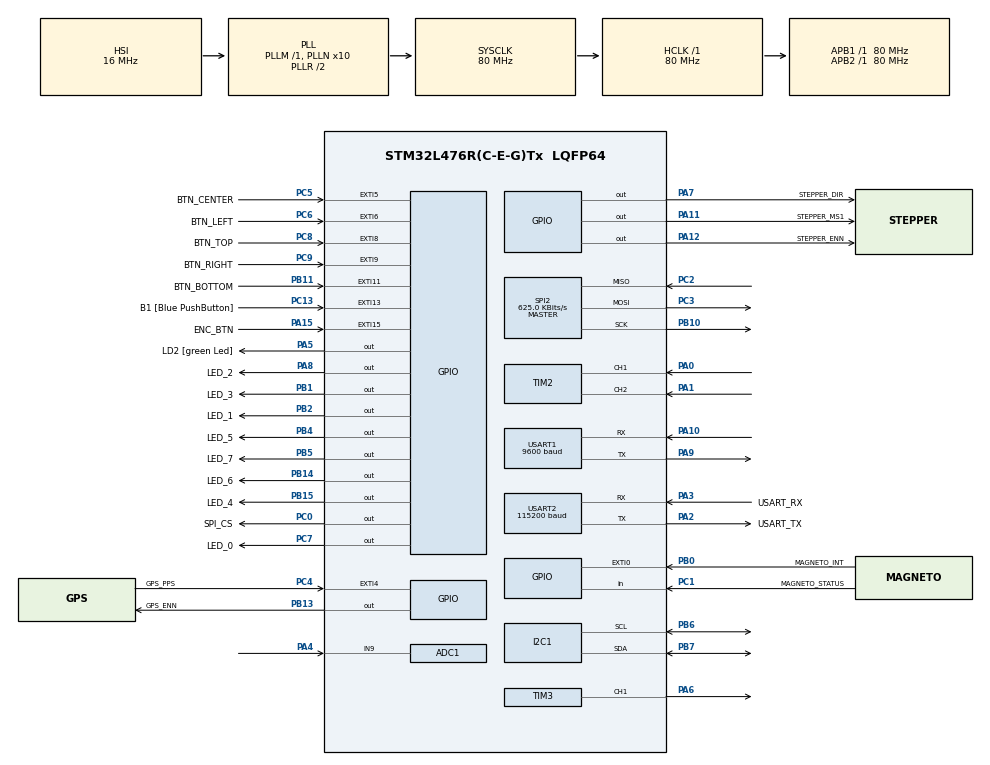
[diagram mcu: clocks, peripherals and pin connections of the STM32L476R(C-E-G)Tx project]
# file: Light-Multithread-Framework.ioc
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ADC1.Channel-2\#ChannelRegularConversion=ADC_CHANNEL_9
ADC1.ContinuousConvMode=DISABLE
ADC1.ExternalTrigConv=ADC_EXTERNALTRIG_T4_TRGO
ADC1.NbrOfConversionFlag=1
ADC1.OffsetNumber-2\#ChannelRegularConversion=ADC_OFFSET_NONE
ADC1.Rank-2\#ChannelRegularConversion=1
ADC1.SamplingTime-2\#ChannelRegularConversion=ADC_SAMPLETIME_2CYCLES_5
ADC1.master=1
I2C1.Timing=0x10909CEC
Mcu.Family=STM32L4
Mcu.Name=STM32L476R(C-E-G)Tx
Mcu.Package=LQFP64
NVIC.ADC1_2_IRQn=true\:0\:0\:false\:false\:true\:true\:true\:true
NVIC.EXTI15_10_IRQn=true\:0\:0\:false\:false\:true\:true\:true\:true
NVIC.PriorityGroup=NVIC_PRIORITYGROUP_4
NVIC.TIM4_IRQn=true\:0\:0\:false\:false\:true\:true\:true\:true
NVIC.TIM6_DAC_IRQn=true\:15\:0\:false\:false\:true\:false\:true\:true
NVIC.TimeBase=TIM6_DAC_IRQn
NVIC.TimeBaseIP=TIM6
PA0.Signal=S_TIM2_CH1
PA1.Signal=S_TIM2_CH2
PA10.Mode=Asynchronous
PA10.Signal=USART1_RX
PA11.GPIO_Label=STEPPER_MS1
PA11.Signal=GPIO_Output
PA12.GPIO_Label=STEPPER_ENN
PA12.PinState=GPIO_PIN_SET
PA12.Signal=GPIO_Output
PA13\ (JTMS-SWDIO).GPIO_Label=TMS
PA13\ (JTMS-SWDIO).Mode=Trace_Asynchronous_SW
PA13\ (JTMS-SWDIO).Signal=SYS_JTMS-SWDIO
PA14\ (JTCK-SWCLK).GPIO_Label=TCK
PA14\ (JTCK-SWCLK).Mode=Trace_Asynchronous_SW
PA14\ (JTCK-SWCLK).Signal=SYS_JTCK-SWCLK
PA15\ (JTDI).GPIO_Label=ENC_BTN
PA15\ (JTDI).Signal=GPXTI15
PA2.GPIO_Label=USART_TX
PA2.GPIO_Mode=GPIO_MODE_AF_PP
PA2.GPIO_PuPd=GPIO_NOPULL
PA2.GPIO_Speed=GPIO_SPEED_FREQ_VERY_HIGH
PA2.Mode=Asynchronous
PA2.Signal=USART2_TX
PA3.GPIO_Label=USART_RX
PA3.GPIO_Mode=GPIO_MODE_AF_PP
PA3.GPIO_PuPd=GPIO_NOPULL
PA3.GPIO_Speed=GPIO_SPEED_FREQ_VERY_HIGH
PA3.Mode=Asynchronous
PA3.Signal=USART2_RX
PA4.Signal=ADCx_IN9
PA5.GPIO_Label=LD2 [green Led]
PA5.GPIO_ModeDefaultOutputPP=GPIO_MODE_OUTPUT_PP
PA5.GPIO_PuPd=GPIO_NOPULL
PA5.GPIO_Speed=GPIO_SPEED_FREQ_LOW
PA5.Signal=GPIO_Output
PA6.Signal=S_TIM3_CH1
PA7.GPIO_Label=STEPPER_DIR
PA7.Signal=GPIO_Output
PA8.GPIO_Label=LED_2
PA8.Signal=GPIO_Output
PA9.Mode=Asynchronous
PA9.Signal=USART1_TX
PB0.GPIO_Label=MAGNETO_INT
PB0.Signal=GPXTI0
PB1.GPIO_Label=LED_3
PB1.Signal=GPIO_Output
PB10.Mode=Full_Duplex_Master
PB10.Signal=SPI2_SCK
PB11.GPIO_Label=BTN_BOTTOM
PB11.Signal=GPXTI11
PB13.GPIO_Label=GPS_ENN
PB13.Signal=GPIO_Output
PB14.GPIO_Label=LED_6
PB14.Signal=GPIO_Output
PB15.GPIO_Label=LED_4
PB15.Signal=GPIO_Output
PB2.GPIO_Label=LED_1
PB2.Signal=GPIO_Output
PB3\ (JTDO-TRACESWO).Mode=Trace_Asynchronous_SW
PB3\ (JTDO-TRACESWO).Signal=SYS_JTDO-SWO
PB4\ (NJTRST).GPIO_Label=LED_5
PB4\ (NJTRST).Signal=GPIO_Output
PB5.GPIO_Label=LED_7
PB5.Signal=GPIO_Output
PB6.Mode=I2C
PB6.Signal=I2C1_SCL
PB7.Mode=I2C
PB7.Signal=I2C1_SDA
PC0.GPIO_Label=SPI_CS
PC0.PinState=GPIO_PIN_SET
PC0.Signal=GPIO_Output
PC1.GPIO_Label=MAGNETO_STATUS
PC1.Signal=GPIO_Input
PC13.GPIO_Label=B1 [Blue PushButton]
PC13.GPIO_ModeDefaultEXTI=GPIO_MODE_IT_FALLING
PC13.GPIO_PuPd=GPIO_NOPULL
PC13.Signal=GPXTI13
PC14-OSC32_IN\ (PC14).Mode=LSE-External-Oscillator
PC14-OSC32_IN\ (PC14).Signal=RCC_OSC32_IN
PC15-OSC32_OUT\ (PC15).Mode=LSE-External-Oscillator
PC15-OSC32_OUT\ (PC15).Signal=RCC_OSC32_OUT
PC2.Mode=Full_Duplex_Master
PC2.Signal=SPI2_MISO
PC3.Mode=Full_Duplex_Master
PC3.Signal=SPI2_MOSI
PC4.GPIO_Label=GPS_PPS
PC4.Signal=GPXTI4
PC5.GPIO_Label=BTN_CENTER
PC5.Signal=GPXTI5
PC6.GPIO_Label=BTN_LEFT
PC6.Signal=GPXTI6
PC7.GPIO_Label=LED_0
PC7.Signal=GPIO_Output
PC8.GPIO_Label=BTN_TOP
PC8.Signal=GPXTI8
PC9.GPIO_Label=BTN_RIGHT
PC9.Signal=GPXTI9
PH0-OSC_IN\ (PH0).Mode=HSE-External-Oscillator
PH0-OSC_IN\ (PH0).Signal=RCC_OSC_IN
PH1-OSC_OUT\ (PH1).Mode=HSE-External-Oscillator
PH1-OSC_OUT\ (PH1).Signal=RCC_OSC_OUT
ProjectManager.HeapSize=0x200
ProjectManager.StackSize=0x400
ProjectManager.TargetToolchain=STM32CubeIDE
RCC.ADCFreq_Value=64000000
RCC.AHBFreq_Value=80000000
RCC.APB1Freq_Value=80000000
RCC.APB1TimFreq_Value=80000000
RCC.APB2Freq_Value=80000000
RCC.APB2TimFreq_Value=80000000
RCC.CortexFreq_Value=80000000
RCC.HCLKFreq_Value=80000000
RCC.HSE_VALUE=8000000
RCC.HSI_VALUE=16000000
RCC.MSI_VALUE=4000000
RCC.PLLN=10
RCC.PLLSourceVirtual=RCC_PLLSOURCE_HSI
RCC.PREFETCH_ENABLE=1
RCC.SYSCLKFreq_VALUE=80000000
RCC.SYSCLKSource=RCC_SYSCLKSOURCE_PLLCLK
RCC.USBFreq_Value=64000000
RCC.VCOOutputFreq_Value=160000000
SH.ADCx_IN9.0=ADC1_IN9,IN9-Single-Ended
SH.S_TIM2_CH1.0=TIM2_CH1,Encoder_Interface
SH.S_TIM2_CH2.0=TIM2_CH2,Encoder_Interface
SH.S_TIM3_CH1.0=TIM3_CH1,PWM Generation1 CH1
SPI2.BaudRatePrescaler=SPI_BAUDRATEPRESCALER_128
SPI2.CalculateBaudRate=625.0 KBits/s
SPI2.DataSize=SPI_DATASIZE_8BIT
SPI2.Direction=SPI_DIRECTION_2LINES
SPI2.Mode=SPI_MODE_MASTER
SPI2.NSSPMode=SPI_NSS_PULSE_DISABLE
SPI2.VirtualType=VM_MASTER
TIM3.Channel-PWM\ Generation1\ CH1=TIM_CHANNEL_1
TIM4.Period=9999
TIM4.Prescaler=79
TIM4.TIM_MasterOutputTrigger=TIM_TRGO_UPDATE
USART1.BaudRate=9600
USART1.VirtualMode-Asynchronous=VM_ASYNC
USART2.BaudRate=115200
USART2.VirtualMode-Asynchronous=VM_ASYNC
VP_SYS_VS_tim6.Mode=TIM6
VP_TIM3_VS_ClockSourceINT.Mode=Internal
VP_TIM4_VS_ClockSourceINT.Mode=Internal
board=NUCLEO-L476RG

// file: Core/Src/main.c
/* USER CODE BEGIN Header */
/**
  ******************************************************************************
  * @file           : main.c
  * @brief          : Main program body
  ******************************************************************************
  * @attention
  *
  * Copyright (c) 2025 STMicroelectronics.
  * All rights reserved.
  *
  * This software is licensed under terms that can be found in the LICENSE file
  * in the root directory of this software component.
  * If no LICENSE file comes with this software, it is provided AS-IS.
  *
  ******************************************************************************
  */
/* USER CODE END Header */
#include "main.h"
#include "adc.h"
#include "i2c.h"
#include "spi.h"
#include "tim.h"
#include "usart.h"
#include "gpio.h"

/* USER CODE BEGIN Includes */
#include "task.h"
#include <stdio.h>
#include "led.h"
#include "stm32l4xx_hal.h"
#include "button.h"
#include "ssd1315.h"
#include "fonts.h"

/* USER CODE END Includes */

void SystemClock_Config(void);

/* USER CODE BEGIN 0 */
int __io_putchar(int ch)
{
	HAL_UART_Transmit(&huart2, (uint8_t *)&ch, 1, HAL_MAX_DELAY);
	return ch;

}

int __io_getchar(void)
{
	uint8_t ch = 0;
	__HAL_UART_CLEAR_OREFLAG(&huart2);
	HAL_UART_Receive(&huart2, (uint8_t *)&ch, 1, HAL_MAX_DELAY);
	HAL_UART_Transmit(&huart2, (uint8_t *)&ch, 1, HAL_MAX_DELAY);
	return ch;

}
/* USER CODE END 0 */

int main(void)
{

  /* MCU Configuration--------------------------------------------------------*/

  /* Reset of all peripherals, Initializes the Flash interface and the Systick. */
  HAL_Init();

  /* Configure the system clock */
  SystemClock_Config();

  /* Initialize all configured peripherals */
  MX_GPIO_Init();
  MX_USART2_UART_Init();
  MX_I2C1_Init();
  MX_SPI2_Init();
  MX_TIM2_Init();
  MX_TIM3_Init();
  MX_USART1_UART_Init();
  MX_ADC1_Init();
  MX_TIM4_Init();
  /* USER CODE BEGIN 2 */
  HAL_TIM_Base_Start_IT(&htim4);

  /* USER CODE END 2 */

  /* Infinite loop */
  while (1)
  {

  }
}

void SystemClock_Config(void)
{
  RCC_OscInitTypeDef RCC_OscInitStruct = {0};
  RCC_ClkInitTypeDef RCC_ClkInitStruct = {0};

  /** Configure the main internal regulator output voltage
  */
  if (HAL_PWREx_ControlVoltageScaling(PWR_REGULATOR_VOLTAGE_SCALE1) != HAL_OK)
  {
    Error_Handler();
  }

  /** Initializes the RCC Oscillators according to the specified parameters
  * in the RCC_OscInitTypeDef structure.
  */
  RCC_OscInitStruct.OscillatorType = RCC_OSCILLATORTYPE_HSI;
  RCC_OscInitStruct.HSIState = RCC_HSI_ON;
  RCC_OscInitStruct.HSICalibrationValue = RCC_HSICALIBRATION_DEFAULT;
  RCC_OscInitStruct.PLL.PLLState = RCC_PLL_ON;
  RCC_OscInitStruct.PLL.PLLSource = RCC_PLLSOURCE_HSI;
  RCC_OscInitStruct.PLL.PLLM = 1;
  RCC_OscInitStruct.PLL.PLLN = 10;
  RCC_OscInitStruct.PLL.PLLP = RCC_PLLP_DIV7;
  RCC_OscInitStruct.PLL.PLLQ = RCC_PLLQ_DIV2;
  RCC_OscInitStruct.PLL.PLLR = RCC_PLLR_DIV2;
  if (HAL_RCC_OscConfig(&RCC_OscInitStruct) != HAL_OK)
  {
    Error_Handler();
  }

  /** Initializes the CPU, AHB and APB buses clocks
  */
  RCC_ClkInitStruct.ClockType = RCC_CLOCKTYPE_HCLK|RCC_CLOCKTYPE_SYSCLK
                              |RCC_CLOCKTYPE_PCLK1|RCC_CLOCKTYPE_PCLK2;
  RCC_ClkInitStruct.SYSCLKSource = RCC_SYSCLKSOURCE_PLLCLK;
  RCC_ClkInitStruct.AHBCLKDivider = RCC_SYSCLK_DIV1;
  RCC_ClkInitStruct.APB1CLKDivider = RCC_HCLK_DIV1;
  RCC_ClkInitStruct.APB2CLKDivider = RCC_HCLK_DIV1;

  if (HAL_RCC_ClockConfig(&RCC_ClkInitStruct, FLASH_LATENCY_4) != HAL_OK)
  {
    Error_Handler();
  }
}

void HAL_TIM_PeriodElapsedCallback(TIM_HandleTypeDef *htim)
{
  /* USER CODE BEGIN Callback 0 */

    static int taskNumber = 0;
    if (htim->Instance == TIM4) {
        taskNumber = (taskNumber + 1) % 3;
        switch (taskNumber) {
            case 0:
            	taskLED();
                break;
            case 1:
            	taskButton();
                break;
            case 2:
            	taskScreen();
                break;
        }
  /* USER CODE END Callback 0 */
  if (htim->Instance == TIM6) {
    HAL_IncTick();
  }
}

void Error_Handler(void)
{
  __disable_irq();
  while (1)
  {
  }
}
